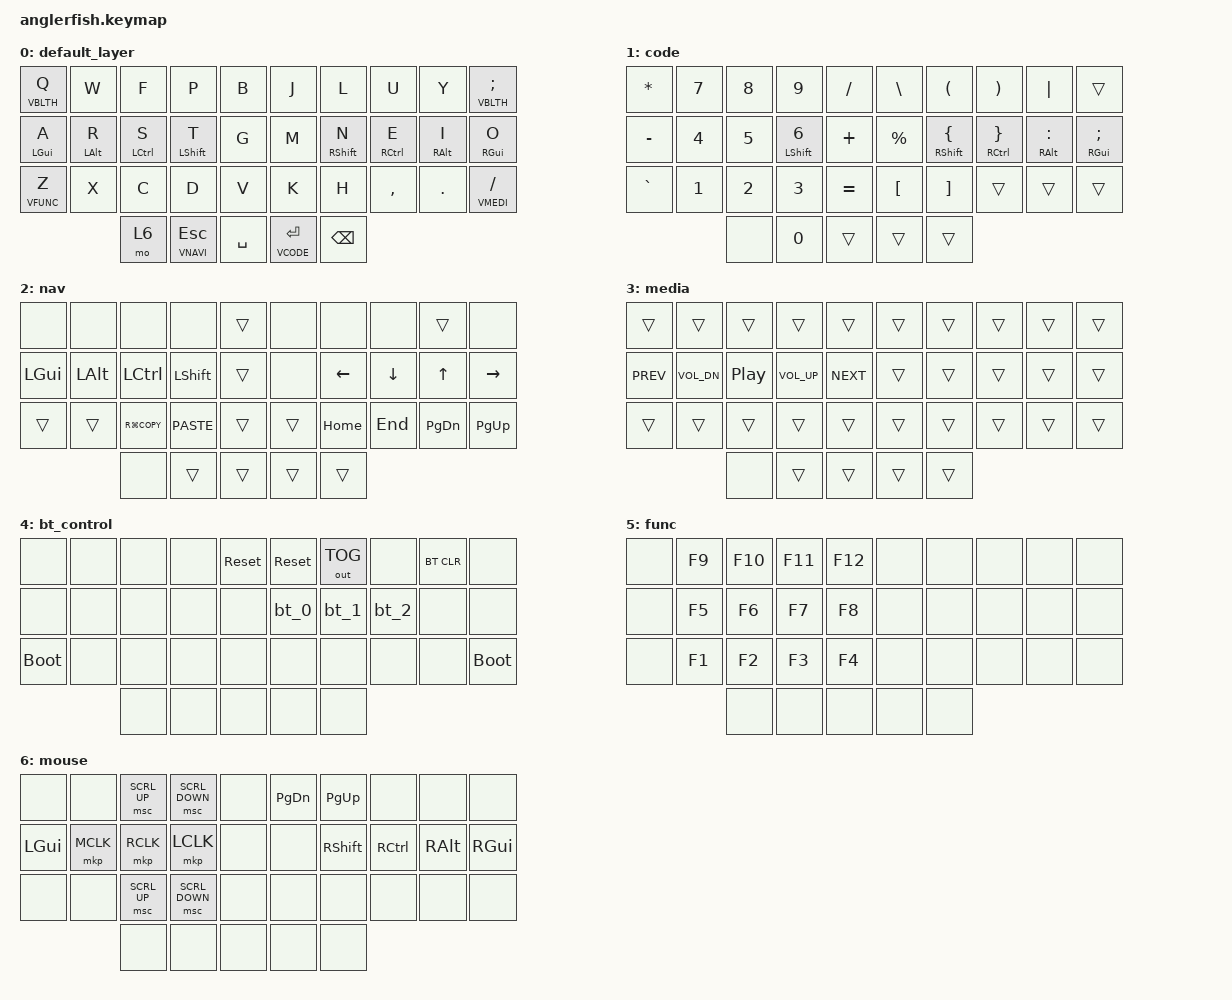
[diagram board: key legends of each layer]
#include <behaviors.dtsi>
#include <dt-bindings/zmk/bt.h>
#include <dt-bindings/zmk/keys.h>
#include <dt-bindings/zmk/mouse.h>
#include <dt-bindings/zmk/outputs.h>

#define VBASE 0
#define VCODE 1
#define VNAVI 2
#define VMEDI 3
#define VBLTH 4
#define VFUNC 5

/ {
    behaviors {
        hml: hml {
            compatible = "zmk,behavior-hold-tap";
            label = "HML";
            bindings = <&kp>, <&kp>;

            #binding-cells = <2>;
            hold-trigger-on-release;
            hold-trigger-key-positions = <32 33 31 30 25 26 27 28 29 19 18 17 16 15 5 6 7 8 9 34>;
            tapping-term-ms = <200>;
            quick-tap-ms = <175>;
            require-prior-idle-ms = <150>;
            flavor = "balanced";
        };

        hmr: hmr {
            compatible = "zmk,behavior-hold-tap";
            label = "HMR";
            bindings = <&kp>, <&kp>;

            #binding-cells = <2>;
            hold-trigger-on-release;
            hold-trigger-key-positions = <32 33 31 30 22 20 21 23 24 14 13 12 11 10 0 1 2 3 4 34>;
            tapping-term-ms = <200>;
            quick-tap-ms = <175>;
            require-prior-idle-ms = <150>;
            flavor = "balanced";
        };
    };

    combos {
        compatible = "zmk,combos";

        cmb_under {
            bindings = <&kp UNDERSCORE>;
            key-positions = <27 28>;
            layers = <VBASE>;
        };

        cmb_minus {
            bindings = <&kp MINUS>;
            key-positions = <26 27>;
            layers = <VBASE>;
        };

        cmb_tab {
            bindings = <&kp TAB>;
            key-positions = <1 8>;
            layers = <VBASE>;
        };

        cmb_single {
            bindings = <&kp SINGLE_QUOTE>;
            key-positions = <2 7>;
            layers = <VBASE>;
        };

        cmb_dbl {
            bindings = <&kp DOUBLE_QUOTES>;
            key-positions = <3 6>;
            layers = <VBASE>;
        };

        cmb_caps {
            bindings = <&caps_word>;
            key-positions = <23 26>;
            layers = <VBASE>;
        };

        cmb_skinny {
            bindings = <&skinny_arrow>;
            key-positions = <13 16>;
            layers = <VBASE>;
        };

        cmb_pipe {
            bindings = <&pipe_opr>;
            key-positions = <14 15>;
            layers = <VBASE>;
        };

        cmb_save {
            bindings = <&vim_save>;
            key-positions = <1 31>;
            layers = <VBASE>;
        };

        cmb_fat {
            bindings = <&fat_arrow>;
            key-positions = <13 16 17>;
            layers = <VBASE>;
        };

        cmb_gt {
            bindings = <&kp GREATER_THAN>;
            key-positions = <21 28>;
        };

        cmb_lt {
            bindings = <&kp LESS_THAN>;
            key-positions = <20 29>;
        };
    };

    macros {
        vim_save: vim_save {
            compatible = "zmk,behavior-macro";
            #binding-cells = <0>;
            bindings = <&kp ESCAPE &kp COLON &kp W &kp ENTER>;
            label = "VIM_SAVE";
        };

        skinny_arrow: skinny_arrow {
            compatible = "zmk,behavior-macro";
            #binding-cells = <0>;
            bindings = <&kp MINUS &kp GREATER_THAN>;
            label = "SKINNY_ARROW";
        };

        fat_arrow: fat_arrow {
            compatible = "zmk,behavior-macro";
            #binding-cells = <0>;
            bindings = <&kp EQUAL &kp GREATER_THAN>;
            label = "FAT_ARROW";
        };

        pipe_opr: pipe_opr {
            compatible = "zmk,behavior-macro";
            #binding-cells = <0>;
            bindings = <&kp PIPE &kp GREATER_THAN>;
            label = "PIPE_OPR";
        };

        bt_0: bt_0 {
            compatible = "zmk,behavior-macro";
            #binding-cells = <0>;
            bindings = <&out OUT_BLE &bt BT_SEL 0>;
            label = "BT_0";
        };

        bt_1: bt_1 {
            compatible = "zmk,behavior-macro";
            #binding-cells = <0>;
            bindings = <&out OUT_BLE &bt BT_SEL 1>;
            label = "BT_1";
        };

        bt_2: bt_2 {
            compatible = "zmk,behavior-macro";
            #binding-cells = <0>;
            bindings = <&out OUT_BLE &bt BT_SEL 2>;
            label = "BT_2";
        };
    };

    keymap {
        compatible = "zmk,keymap";

        default_layer {
            bindings = <
&lt VBLTH Q  &kp W        &kp F         &kp P          &kp B      &kp J          &kp L         &kp U         &kp Y        &lt VBLTH SEMI
&hml LGUI A  &hml LALT R  &hml LCTRL S  &hml LSHFT T   &kp G      &kp M          &hmr RSHFT N  &hmr RCTRL E  &hmr RALT I  &hmr RGUI O
&lt VFUNC Z  &kp X        &kp C         &kp D          &kp V      &kp K          &kp H         &kp COMMA     &kp PERIOD   &lt VMEDI SLASH
                          &mo 6         &lt VNAVI ESC  &kp SPACE  &lt VCODE RET  &kp BSPC
            >;
        };

        code {
            bindings = <
&kp ASTRK  &kp N7  &kp N8  &kp N9         &kp SLASH  &kp BSLH   &kp LPAR         &kp RPAR         &kp PIPE         &trans
&kp MINUS  &kp N4  &kp N5  &hml LSHFT N6  &kp PLUS   &kp PRCNT  &hmr RSHFT LBRC  &hmr RCTRL RBRC  &hmr RALT COLON  &hmr RGUI SEMI
&kp GRAVE  &kp N1  &kp N2  &kp N3         &kp EQUAL  &kp LBKT   &kp RBKT         &trans           &trans           &trans
                   &none   &kp N0         &trans     &trans     &trans
            >;
        };

        nav {
            bindings = <
&none     &none     &none           &none        &trans  &none   &none     &none     &trans         &none
&kp LGUI  &kp LALT  &kp LCTRL       &kp LSHFT    &trans  &none   &kp LEFT  &kp DOWN  &kp UP         &kp RIGHT
&trans    &trans    &kp RG(K_COPY)  &kp K_PASTE  &trans  &trans  &kp HOME  &kp END   &kp PAGE_DOWN  &kp PAGE_UP
                    &none           &trans       &trans  &trans  &trans
            >;
        };

        media {
            bindings = <
&trans      &trans        &trans    &trans        &trans      &trans  &trans  &trans  &trans  &trans
&kp C_PREV  &kp C_VOL_DN  &kp C_PP  &kp C_VOL_UP  &kp C_NEXT  &trans  &trans  &trans  &trans  &trans
&trans      &trans        &trans    &trans        &trans      &trans  &trans  &trans  &trans  &trans
                          &none     &trans        &trans      &trans  &trans
            >;
        };

        bt_control {
            bindings = <
&none        &none  &none  &none  &sys_reset  &sys_reset  &out OUT_TOG  &none  &bt BT_CLR  &none
&none        &none  &none  &none  &none       &bt_0       &bt_1         &bt_2  &none       &none
&bootloader  &none  &none  &none  &none       &none       &none         &none  &none       &bootloader
                    &none  &none  &none       &none       &none
            >;
        };

        func {
            bindings = <
&none  &kp F9  &kp F10  &kp F11  &kp F12  &none  &none  &none  &none  &none
&none  &kp F5  &kp F6   &kp F7   &kp F8   &none  &none  &none  &none  &none
&none  &kp F1  &kp F2   &kp F3   &kp F4   &none  &none  &none  &none  &none
               &none    &none    &none    &none  &none
            >;
        };

        mouse {
            bindings = <
&none     &none      &msc SCRL_UP    &msc SCRL_DOWN    &none  &kp PAGE_DOWN  &kp PAGE_UP      &none      &none          &none
&kp LGUI  &mkp MCLK  &mkp RCLK       &mkp LCLK         &none  &none          &kp RIGHT_SHIFT  &kp RCTRL  &kp RIGHT_ALT  &kp RIGHT_GUI
&none     &none      &msc SCRL_UP    &msc SCRL_DOWN    &none  &none          &none            &none      &none          &none
                     &none           &none             &none  &none          &none
            >;
        };
    };
};
